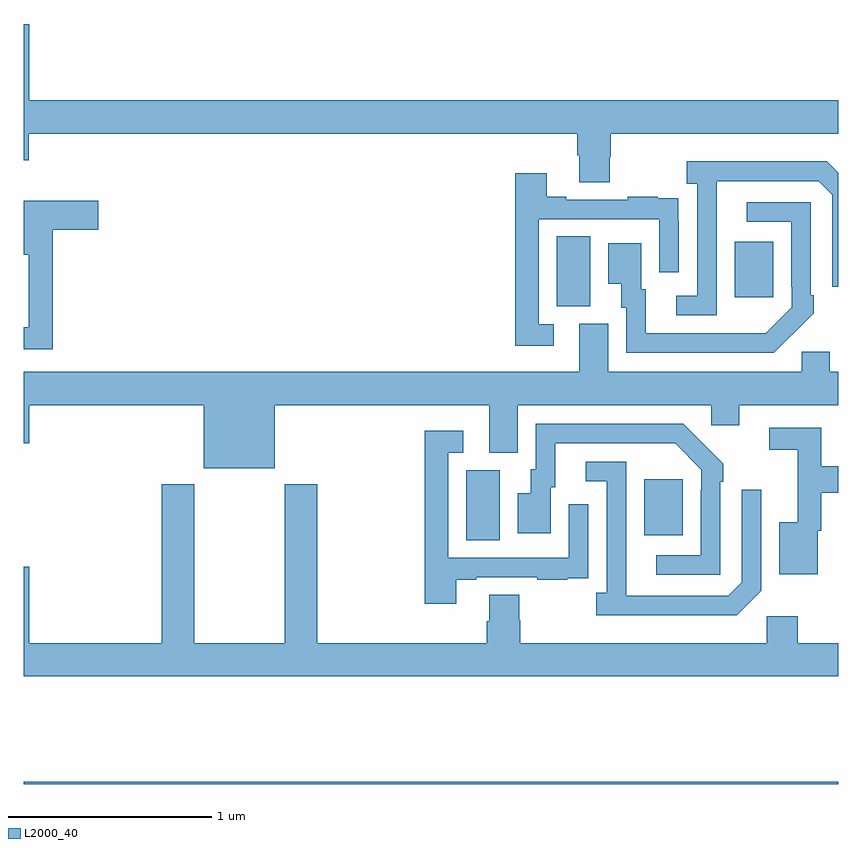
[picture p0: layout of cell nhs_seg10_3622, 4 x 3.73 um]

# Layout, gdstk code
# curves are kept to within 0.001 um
import gdstk
lib = gdstk.Library(unit=1e-6, precision=1e-09)
def R(c, l, rs):  # rectangles x0, y0, x1, y1
    for r in rs: c.add(gdstk.rectangle(r[:2], r[2:], *l))
def P(c, l, *ps):  # polygons
    for p in ps: c.add(gdstk.Polygon(p, *l))
L2000_40 = (2000, 40)

nhs_seg10_3622 = lib.new_cell('nhs_seg10_3622')
R(nhs_seg10_3622, L2000_40, [(309,1254.5,313,1254.512), (311.174,1255.696,311.338,1256.04), (312.047,1255.721,312.235,1255.996), (311.618,1256.845,311.782,1257.188), (312.491,1256.889,312.679,1257.163)])
P(nhs_seg10_3622, L2000_40, [(311.877,1257.579),(311.882,1257.579),(311.882,1257.692),(313,1257.692),(313,1257.856),(309.028,1257.856),(309.028,1258.231),(309,1258.231),(309,1257.561),(309.026,1257.561),(309.026,1257.692),(311.717,1257.692),(311.717,1257.586),(311.729,1257.586),(311.729,1257.454),(311.877,1257.454)],
  [(312.402,1257.259),(312.403,1257.459),(312.903,1257.459),(312.969,1257.393),(312.969,1256.94),(313,1256.94),(313,1257.5),(312.944,1257.556),(312.255,1257.556),(312.255,1257.446),(312.306,1257.446),(312.306,1256.898),(312.204,1256.898),(312.204,1256.802),(312.402,1256.802)],
  [(311.602,1256.757),(311.529,1256.757),(311.529,1257.273),(312.12,1257.273),(312.12,1257.012),(312.216,1257.012),(312.216,1257.266),(312.215,1257.266),(312.215,1257.375),(312.113,1257.375),(312.113,1257.382),(311.965,1257.382),(311.965,1257.369),(311.665,1257.369),(311.665,1257.382),(311.569,1257.382),(311.569,1257.499),(311.413,1257.499),(311.413,1256.652),(311.602,1256.652)],
  [(309.143,1257.221),(309.367,1257.221),(309.367,1257.363),(309,1257.363),(309,1257.098),(309.026,1257.098),(309.026,1256.743),(309,1256.743),(309,1256.634),(309.143,1256.634)],
  [(312.773,1256.707),(312.774,1256.706),(312.879,1256.811),(312.879,1256.899),(312.864,1256.899),(312.864,1257.357),(312.549,1257.357),(312.549,1257.261),(312.768,1257.261),(312.768,1256.941),(312.771,1256.941),(312.771,1256.841),(312.643,1256.713),(312.055,1256.712),(312.055,1256.928),(312.031,1256.928),(312.031,1257.154),(311.87,1257.154),(311.87,1256.957),(311.933,1256.957),(311.933,1256.838),(311.958,1256.838),(311.958,1256.616),(312.682,1256.616)],
  [(310.234,1256.36),(311.285,1256.36),(311.285,1256.125),(311.425,1256.125),(311.425,1256.36),(312.375,1256.36),(312.375,1256.262),(312.514,1256.262),(312.514,1256.36),(313,1256.36),(313,1256.524),(312.958,1256.524),(312.958,1256.622),(312.819,1256.622),(312.819,1256.524),(311.869,1256.524),(311.869,1256.76),(311.729,1256.76),(311.729,1256.524),(309,1256.524),(309,1256.172),(309.028,1256.172),(309.028,1256.36),(309.884,1256.36),(309.884,1256.051),(310.234,1256.051)],
  [(312.42,1255.985),(312.435,1255.985),(312.435,1256.073),(312.238,1256.268),(311.514,1256.268),(311.514,1256.046),(311.489,1256.046),(311.489,1255.927),(311.426,1255.927),(311.426,1255.731),(311.587,1255.731),(311.587,1255.956),(311.611,1255.956),(311.611,1256.172),(312.199,1256.172),(312.327,1256.043),(312.327,1255.943),(312.324,1255.943),(312.324,1255.623),(312.105,1255.623),(312.105,1255.527),(312.42,1255.527)],
  [(312.898,1255.743),(312.917,1255.743),(312.917,1255.93),(313,1255.93),(313,1256.059),(312.917,1256.059),(312.917,1256.25),(312.66,1256.25),(312.66,1256.142),(312.8,1256.142),(312.8,1255.786),(312.71,1255.786),(312.71,1255.529),(312.898,1255.529)],
  [(311.125,1255.503),(311.221,1255.503),(311.221,1255.515),(311.521,1255.515),(311.521,1255.503),(311.669,1255.503),(311.669,1255.509),(311.771,1255.509),(311.771,1255.618),(311.772,1255.618),(311.772,1255.873),(311.676,1255.873),(311.676,1255.611),(311.085,1255.611),(311.085,1256.127),(311.158,1256.127),(311.158,1256.233),(310.969,1256.233),(310.969,1255.386),(311.125,1255.386)],
  [(312.621,1255.449),(312.621,1255.945),(312.525,1255.945),(312.525,1255.491),(312.459,1255.425),(311.959,1255.425),(311.958,1256.082),(311.76,1256.082),(311.76,1255.986),(311.862,1255.986),(311.862,1255.438),(311.811,1255.438),(311.811,1255.328),(312.5,1255.328)],
  [(313,1255.192),(312.8,1255.192),(312.8,1255.324),(312.648,1255.324),(312.648,1255.192),(311.438,1255.192),(311.438,1255.305),(311.433,1255.305),(311.433,1255.43),(311.285,1255.43),(311.285,1255.298),(311.273,1255.298),(311.273,1255.192),(310.442,1255.192),(310.442,1255.972),(310.282,1255.972),(310.282,1255.192),(309.837,1255.192),(309.837,1255.972),(309.677,1255.972),(309.677,1255.192),(309.028,1255.192),(309.028,1255.567),(309,1255.567),(309,1255.028),(313,1255.028)])

lib.write_gds('nhs_seg10_3622.gds')
